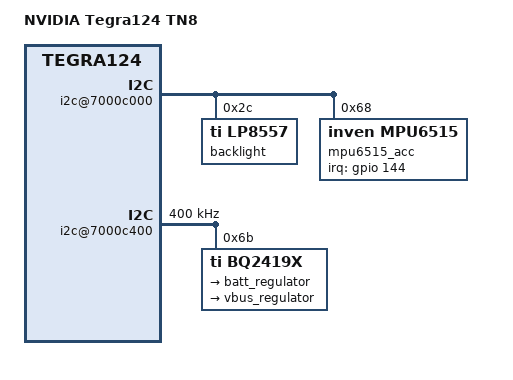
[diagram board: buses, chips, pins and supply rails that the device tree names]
/dts-v1/;

#include "tegra124.dtsi"
#include "tegra124-platforms/tegra124-tn8-io.dtsi"
#include "tegra124-platforms/tegra124-e1922-emc.dtsi"
#include "tegra124-platforms/tegra124-tn8-e1736-pmic.dtsi"
#include "tegra124-platforms/tegra124-tn8-e1736-fixed.dtsi"
#include "tegra124-platforms/tegra124-e1780-gpio-default.dtsi"
#include "tegra124-platforms/tegra124-e1780-pinmux.dtsi"
#include "tegra124-platforms/tegra124-e1780-keys.dtsi"

/ {
	model = "NVIDIA Tegra124 TN8";
	compatible = "nvidia,mocha", "nvidia,tegra124";
	nvidia,dtsfilename = __FILE__;
	nvidia,boardids = "1780:1100:3:A:7","1845:1000:0:A:7";
	#address-cells = <1>;
	#size-cells = <1>;

	chosen {
		bootargs = "tegraid=40.0.0.00.00 vmalloc=256M video=tegrafb console=ttyS0,115200n8 earlyprintk";
		linux,initrd-start = <0x85000000>;
		linux,initrd-end = <0x851bc400>;
	};

	i2c@7000c000 {
		backlight@2c {
			compatible = "ti,lp8557";
			reg = <0x2c>;

			dev-ctrl = /bits/ 8 <0x05>;
			init-brt = /bits/ 8 <0xff>;
		};
		mpu6515_acc@68 {
			compatible = "inven,mpu6515";
			reg = <0x68>;
			interrupt-parent = <&gpio>;
			interrupts = <144 0x01>;
			fs_range = <0x00>;
			axis_map_x = <1>;
			axis_map_y = <0>;
			axis_map_z = <2>;
			negate_x = <0>;
			negate_y = <0>;
			negate_z = <1>;
			poll_interval = <200>;
			min_interval = <5>;
			inven,secondary_reg = <0x0E>;
			/* If no compass sensor,
			 * replace "compass" with "none"
			 */
			inven,secondary_type = "compass";
			inven,secondary_name = "ak8963";
			inven,secondary_axis_map_x = <1>;
			inven,secondary_axis_map_y = <0>;
			inven,secondary_axis_map_z = <2>;
			inven,secondary_negate_x = <0>;
			inven,secondary_negate_y = <0>;
			inven,secondary_negate_z = <1>;
			inven,aux_reg = <0x76>;
			/* If no pressure sensor,
			 * replace "pressure" with "none"
			 */
			inven,aux_type = "none";
			inven,aux_name = "bmp280";
		};
	};

	i2c@7000c400 {
		status = "okay";
		clock-frequency = <400000>;

		bq2419x: bq2419x@6b {
			compatible = "ti,bq2419x";
			reg = <0x6b>;


			charger {
				regulator-name = "batt_regulator";
				regulator-max-microamp = <3000>;
				watchdog-timeout = <40>;
				rtc-alarm-time = <3600>;
				auto-recharge-time = <1800>;
				consumers {
					c1 {
						regulator-consumer-supply = "usb_bat_chg";
						regulator-consumer-device = "tegra-udc.0";
					};
				};
			};

			vbus {
				regulator-name = "vbus_regulator";
				consumers {
					c1 {
						regulator-consumer-supply = "usb_vbus";
						regulator-consumer-device = "tegra-ehci.0";
					};

					c2 {
						regulator-consumer-supply = "usb_vbus";
						regulator-consumer-device = "tegra-otg";
					};
				};
			};
		};
	};
};

